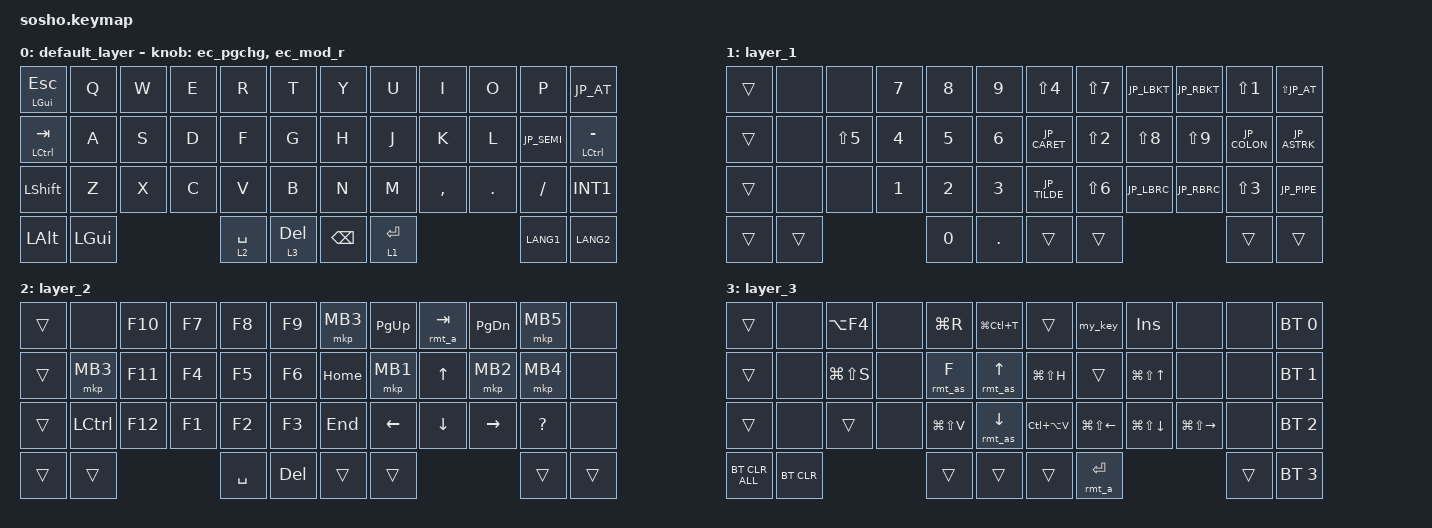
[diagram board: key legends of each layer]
//スクロール量の調整(デフォルト150)
#define ZMK_POINTING_DEFAULT_SCRL_VAL 150

#include <behaviors.dtsi>
#include <dt-bindings/zmk/bt.h>
#include <dt-bindings/zmk/keys.h>
#include <dt-bindings/zmk/pointing.h>
#include <dt-bindings/zmk/outputs.h>
#include <dt-bindings/zmk/mouse.h>
#include "keycode_japanese.h"


/{
	behaviors {
		//エンコーダにスクロールを割り当てるためのビヘイビア
		// msc_ec_l: sensor_rotation_scroll_L {
	    //     compatible = "zmk,behavior-sensor-rotate-var";
        //     #sensor-binding-cells = <2>;
        //     bindings = <&msc>, <&msc>;
		// 	tap-ms = <20>;
        // };
		// msc_ec_r: sensor_rotation_scroll_R {
	    //     compatible = "zmk,behavior-sensor-rotate-var";
        //     #sensor-binding-cells = <2>;
        //     bindings = <&msc>, <&msc>;
		// 	tap-ms = <20>;
        // };

        // エンコーダ用
		ec_pgchg: sensor_rotation_page_change { // ページ切り替え用のビヘイビア(L)
	        compatible = "zmk,behavior-sensor-rotate";
            #sensor-binding-cells = <0>;
            bindings = <&kp LC(PG_UP)>, <&kp LC(PG_DN)>;
        };
        ec_ctrl_r_p: encoder_ctrl_right_pos { // ctrl エンコーダ(R) 時計回り
            compatible = "zmk,behavior-mod-morph";
            #binding-cells = <0>;
            bindings = <&kp RIGHT>, <&kp TAB>;
            mods = <(MOD_LCTL)>;
            keep-mods = <(MOD_LCTL)>;
        };
        ec_ac_r_p: encoder_alt_ctrl_right_pos { // alt,ctrl エンコーダ(R) 時計回り
            compatible = "zmk,behavior-mod-morph";
            #binding-cells = <0>;
            bindings = <&ec_ctrl_r_p>, <&kp TAB>;
            mods = <(MOD_LALT)>;
            keep-mods = <(MOD_LALT)>;
        };
        ec_ctrl_r_n: encoder_ctrl_right_neg { // ctrl エンコーダ(R) 反時計回り
            compatible = "zmk,behavior-mod-morph";
            #binding-cells = <0>;
            bindings = <&kp LEFT>, <&kp LS(TAB)>;
            mods = <(MOD_LCTL)>;
            keep-mods = <(MOD_LCTL)>;
        };
        ec_ac_r_n: encoder_alt_ctrl_right_neg { // alt,ctrl エンコーダ(R) 反時計回り
            compatible = "zmk,behavior-mod-morph";
            #binding-cells = <0>;
            bindings = <&ec_ctrl_r_n>, <&kp LS(TAB)>;
            mods = <(MOD_LALT)>;
            keep-mods = <(MOD_LALT)>;
        };
        ec_mod_r_p: encoder_mod_right_pos { // modキー+エンコーダのビヘイビア(R) 時計回り
            compatible = "zmk,behavior-mod-morph";
            #binding-cells = <0>;
            bindings = <&kp RIGHT>, <&ec_ac_r_p>;
            mods = <(MOD_LALT|MOD_LCTL)>;
        };
        ec_mod_r_n: encoder_mod_right_neg { // modキー+エンコーダのビヘイビア(R) 反時計回り
            compatible = "zmk,behavior-mod-morph";
            #binding-cells = <0>;
            bindings = <&kp LEFT>, <&ec_ac_r_n>;
            mods = <(MOD_LALT|MOD_LCTL)>;
        };
        ec_mod_r: encoder_mod_right { // modキー+エンコーダのビヘイビア(R)
            compatible = "zmk,behavior-sensor-rotate";
            #sensor-binding-cells = <0>;
            bindings = <&ec_mod_r_n>, <&ec_mod_r_p>;
            tap-ms = <10>;
        };
};

    // コンボキー
    combos {
        compatible = "zmk,combos";
        // prioritize-longer-keys;
		//左クリックのコンボ 19 J 20 K
	    combo_LCLK {
            timeout-ms = <50>;
            key-positions = <19 20>;
            bindings = <&mkp LCLK>;
        };

		//右クリックのコンボ 20 K 21 L
        combo_RCLK {
            timeout-ms = <50>;
            key-positions = <20 21>;
            bindings = <&mkp RCLK>;
        };

		//ホイールクリックのコンボ 19 J 21 L
	    combo_MCLK {
            timeout-ms = <90>;
            key-positions = <19 21>;
            bindings = <&mkp MCLK>;
        };

        // かな英数関連
        combo_KANA { // かな 14 S 15 D
            timeout-ms = <50>;
            key-positions = <14 15>;
            bindings = <&kp LANG1>;
        };
        combo_EISU { // 英数 15 D 16 F
            timeout-ms = <50>;
            key-positions = <15 16>;
            bindings = <&kp LANG2>;
        };
        combo_ZENHAN { // 全角/半角 14 S 16 F
            timeout-ms = <50>;
            key-positions = <14 16>;
            bindings = <&kp JP_ZKHK>;
        };
    };
    // マクロ定義
    macro{
        rmt_a: rmt_alt { //リモートデスク用 Alt+ のマクロ
            compatible = "zmk,behavior-macro-one-param";
            #binding-cells = <1>;
            bindings
                = <&macro_press &kp LALT>
                , <&macro_wait_time 20>
                , <&macro_param_1to1>
                , <&macro_tap &kp MACRO_PLACEHOLDER>
                , <&macro_release &kp LALT>;
        };
        rmt_as: rmt_alt_shift { //リモートデスク用 Alt+Shift+ のマクロ
            compatible = "zmk,behavior-macro-one-param";
            #binding-cells = <1>;
            bindings
                = <&macro_press &kp LALT &kp LSFT>
                , <&macro_wait_time 20>
                , <&macro_param_1to1>
                , <&macro_tap &kp MACRO_PLACEHOLDER>
                , <&macro_release &kp LALT &kp LSFT>;
        };
        my_key: my_key {
            compatible = "zmk,behavior-macro";
            #binding-cells = <0>;
            bindings = <&macro_tap &kp R &kp E &kp P &kp T &kp L &kp N6 &kp N4 &kp LS(T) &kp LS(T)>;
        };
    };
    // キー配置
    keymap {
        compatible = "zmk,keymap";

        default_layer {
            bindings = <
                    &mt LGUI ESC    &kp Q   &kp W  &kp E  &kp R         &kp T     /*|*/ &kp Y    &kp U  &kp I      &kp O    &kp P        &kp JP_AT
                    &mt LCTRL TAB   &kp A   &kp S  &kp D  &kp F         &kp G     /*|*/ &kp H    &kp J  &kp K      &kp L    &kp JP_SEMI  &mt LCTRL MINUS
                    &kp LSHFT       &kp Z   &kp X  &kp C  &kp V         &kp B     /*|*/ &kp N    &kp M  &kp COMMA  &kp DOT  &kp SLASH    &kp INT1
                    &kp LALT        &kp LGUI              &lt 2 SPACE   &lt 3 DEL /*|*/ &kp BSPC &lt 1 ENTER                &kp LANG1    &kp LANG2
            >;
    		//&msc_ec_lとrは、上のビヘイビアで作ったもの。
                sensor-bindings = <&ec_pgchg &ec_mod_r>;
            };
            // default_layer {
            //     bindings = <
            //         &kp TAB    &kp Q   &kp W  &kp E  &kp R  &kp T      &kp Y  &kp U  &kp I      &kp O    &kp P     &kp BSPC
            //         &kp LCTRL  &kp A   &kp S  &kp D  &kp F  &kp G      &kp H  &kp J  &kp K      &kp L    &kp SQT   &kp ENTER
            //         &kp LSHFT  &kp Z   &kp X  &kp C  &kp V  &kp B      &kp N  &kp M  &kp COMMA  &kp DOT  &kp SLASH &kp LSHFT
            //         &kp ESC    &kp LALT              &mo 2  &kp SPACE  &mo 1  &kp LA(GRAVE)              &mo 3     &kp LGUI
            //     >;
        	// 	//&msc_ec_lとrは、上のビヘイビアで作ったもの。
            //     sensor-bindings = <&msc_ec_l SCRL_LEFT SCRL_RIGHT &msc_ec_r SCRL_UP SCRL_DOWN>;
            // };
    
        layer_1 {
            bindings = <
                    &trans  &none &none      &kp N7 &kp N8  &kp N9  /*|*/ &kp LS(N4)   &kp LS(N7) &kp JP_LBKT &kp JP_RBKT  &kp LS(N1)   &kp LS(JP_AT)
                    &trans  &none &kp LS(N5) &kp N4 &kp N5  &kp N6  /*|*/ &kp JP_CARET &kp LS(N2) &kp LS(N8)  &kp LS(N9)   &kp JP_COLON &kp JP_ASTRK
                    &trans  &none &none      &kp N1 &kp N2  &kp N3  /*|*/ &kp JP_TILDE &kp LS(N6) &kp JP_LBRC &kp JP_RBRC  &kp LS(N3)   &kp JP_PIPE
                    &trans  &trans                  &kp N0  &kp DOT /*|*/ &trans       &trans                              &trans       &trans
            >;
        };

        layer_2 {
            bindings = <
                    &trans  &none     &kp F10   &kp F7  &kp F8    &kp F9  /*|*/ &mkp MB3  &kp PG_UP &rmt_a TAB  &kp PG_DN &mkp MB5  &none
                    &trans  &mkp MB3  &kp F11   &kp F4  &kp F5    &kp F6  /*|*/ &kp HOME  &mkp MB1  &kp UP      &mkp MB2  &mkp MB4  &none
                    &trans  &kp LCTRL &kp F12   &kp F1  &kp F2    &kp F3  /*|*/ &kp END   &kp LEFT  &kp DOWN    &kp RIGHT &kp QMARK &none
                    &trans  &trans                      &kp SPACE &kp DEL /*|*/ &trans  &trans                            &trans    &trans
            >;
    		//レイヤー2のときだけ、左手のエンコーダを回すとボリュームの上下ができるようになっています。
    		// sensor-bindings = <&inc_dec_kp C_VOL_DN C_VOL_UP &msc_ec_r SCRL_UP SCRL_DOWN>;

        };

        layer_3 {
            bindings = <
                    &trans          &none       &kp LA(F4)    &none  &kp LG(R)      &kp LG(LC(T))   /*|*/ &trans          &my_key          &kp INSERT         &none               &none   &bt BT_SEL 0
                    &trans          &none       &kp LG(LS(S)) &none  &rmt_as F      &rmt_as UP      /*|*/ &kp LG(LS(H))   &trans           &kp LG(LS(UP))     &none               &none   &bt BT_SEL 1
                    &trans          &none       &trans        &none  &kp LG(LS(V))  &rmt_as DOWN    /*|*/ &kp LC(LA(V))   &kp LG(LS(LEFT)) &kp LG(LS(DOWN))   &kp LG(LS(RIGHT))   &none   &bt BT_SEL 2
                    &bt BT_CLR_ALL  &bt BT_CLR                       &trans         &trans          /*|*/ &trans          &rmt_a ENTER                                            &trans  &bt BT_SEL 3
            >;
        };
        scroll {
            status = "reserved";
        };

        extra2 {
            status = "reserved";
        };
    };
};

//スクロールの調整
&msc {
    time-to-max-speed-ms = <0>;   // 即座に最大速度（加速なし）
    acceleration-exponent = <0>;   // 加速なし
};
